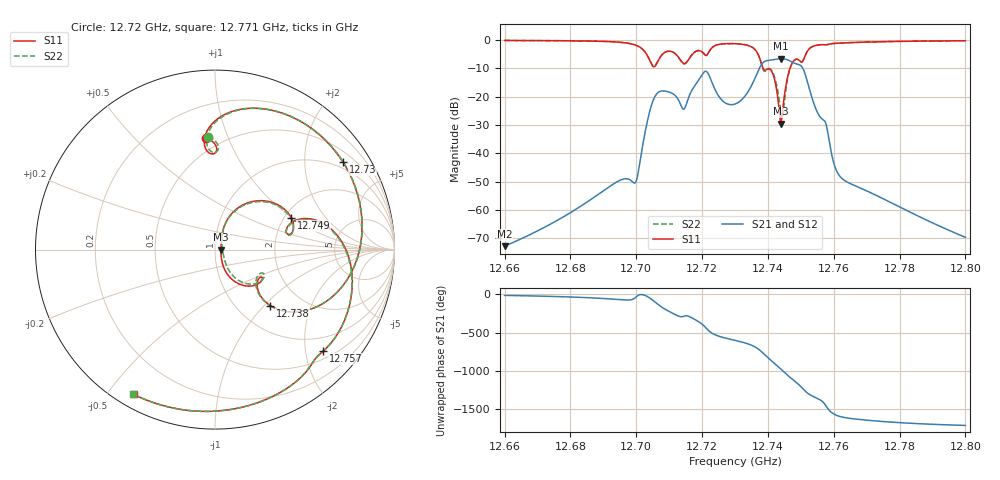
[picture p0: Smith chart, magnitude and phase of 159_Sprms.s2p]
! TOUCHSTONE file generated by CST MICROWAVE STUDIO
! Date and time: Wed Jul 31 18:53:03 2024
! Project name: WaveGuide_BPF-Ver4.1_U-shape_Ku_T3_C4_CWA_2.cst
! Parameters = {cavity_h=16; cavity_l0=10; cavity_l1=15.1689; cavity_l2=16.8634; cavity_l3=17.0955; cavity_l4=17.2942; cavity_l5=17.092; cavity_l6=17.5759; cavity_r=2.5; cavity_screw_l=0.5; cavity_screw_r=1.5; cavity_w=8; iris_h00=0; iris_h01=8.8002; iris_h112=0; iris_h12=5.608; iris_h211=3.6523; ir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
! Header version: 2018
! Port assignment regex: !\s*Touchstone port\s*([0-9]+)\s*=\s*(CST MWS port|CST DS port)\s*([0-9]+|Zmin|Zmax)\s*\(\"(.*)\"\)(\s*mode\s*([0-9]+))?.*
! Touchstone port assignment:
! Touchstone port 1 = CST MWS port 1 ("")
! Touchstone port 2 = CST MWS port 2 ("")
# GHz S RI R 50
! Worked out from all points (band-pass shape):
!   5001 points, 12.66 GHz to 12.8 GHz, reference 50 ohm
!   highest |S21| = -6.58 dB at 12.744 GHz (marker M1); lowest = -72.9 dB at 12.66 GHz (marker M2)
!   |S21| within 3 dB of the highest: 12.73759 GHz to 12.75041 GHz (12.82 MHz wide, 0.101 % of centre)
!   lowest |S11| = -29.5 dB at 12.744 GHz (marker M3), VSWR 1.07, Z = 53.5 - j0.0925 ohm
!   |S11| at or under -10 dB: 12.73855 GHz to 12.74669 GHz (8.145 MHz wide, 0.0639 % of centre)
!   |S22| runs from -27.7 to -0.1 dB; largest |S21 - S12| = 1e-09
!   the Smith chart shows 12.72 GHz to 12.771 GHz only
!   S11 on the Smith chart (normalised r, x): 12.72 GHz: 0.41, +0.84; 12.73 GHz: 0.79, +3.05; 12.738 GHz: 1.40, -1.08; 12.749 GHz: 2.18, +0.98; 12.757 GHz: 0.67, -2.38; 12.771 GHz: 0.05, -0.58
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12.66  0.1847 0.9673  0.00022 -5.87e-05  0.00022 -5.87e-05  0.1885 0.9665
12.68335  0.555 0.791  0.000887 -0.000778  0.000887 -0.000778  0.5592 0.7879
12.6997  0.8163 -0.0652  0.00212 -0.00213  0.00212 -0.00213  0.8121 -0.08
12.7036  0.1486 -0.4827  0.0342 -0.0242  0.0342 -0.0242  0.1248 -0.4845
12.70668  -0.2817 0.3284  -0.0843 -0.084  -0.0843 -0.084  -0.2842 0.3383
12.71107  0.5803 0.2045  -0.0423 0.105  -0.0423 0.105  0.5768 0.204
12.71412  0.0428 -0.3943  0.0216 0.0571  0.0216 0.0571  0.0214 -0.3868
12.71653  -0.4941 0.1382  0.0588 0.1022  0.0588 0.1022  -0.4935 0.1667
12.71989  -0.0488 0.6224  0.2144 -0.104  0.2144 -0.104  -0.0373 0.6298
12.72975  0.7133 0.4871  -0.0381 0.0626  -0.0381 0.0626  0.7181 0.4818
12.73  0.7276 0.4635  -0.0357 0.0649  -0.0357 0.0649  0.732 0.4583
12.73773  0.3085 -0.312  0.3298 -0.0961  0.3298 -0.0961  0.2984 -0.3066
12.74011  0.2618 -0.1692  -0.1506 -0.4101  -0.1506 -0.4101  0.2748 -0.1469
12.74392  0.0334 -0.000864  -0.1187 0.4534  -0.1187 0.4534  0.0468 -0.0285
12.74403  0.0335 0.00861  -0.0837 0.4612  -0.0837 0.4612  0.045 -0.0193
12.74859  0.425 0.1769  0.14 -0.3539  0.14 -0.3539  0.4236 0.1729
12.75335  0.7543 -0.0773  -0.043 0.0869  -0.043 0.0869  0.7537 -0.0844
12.75708  0.6044 -0.5634  0.0359 0.0122  0.0359 0.0122  0.6005 -0.5693
12.76147  0.2705 -0.8405  -0.00357 -0.00223  -0.00357 -0.00223  0.2641 -0.8431
12.77108  -0.4537 -0.8063  -0.00182 0.000874  -0.00182 0.000874  -0.4582 -0.8041
12.77668  -0.7032 -0.6254  -0.001 0.000981  -0.001 0.000981  -0.7062 -0.6222
12.8  -0.9723 0.0575  6.49e-07 0.000326  6.49e-07 0.000326  -0.9721 0.0611
